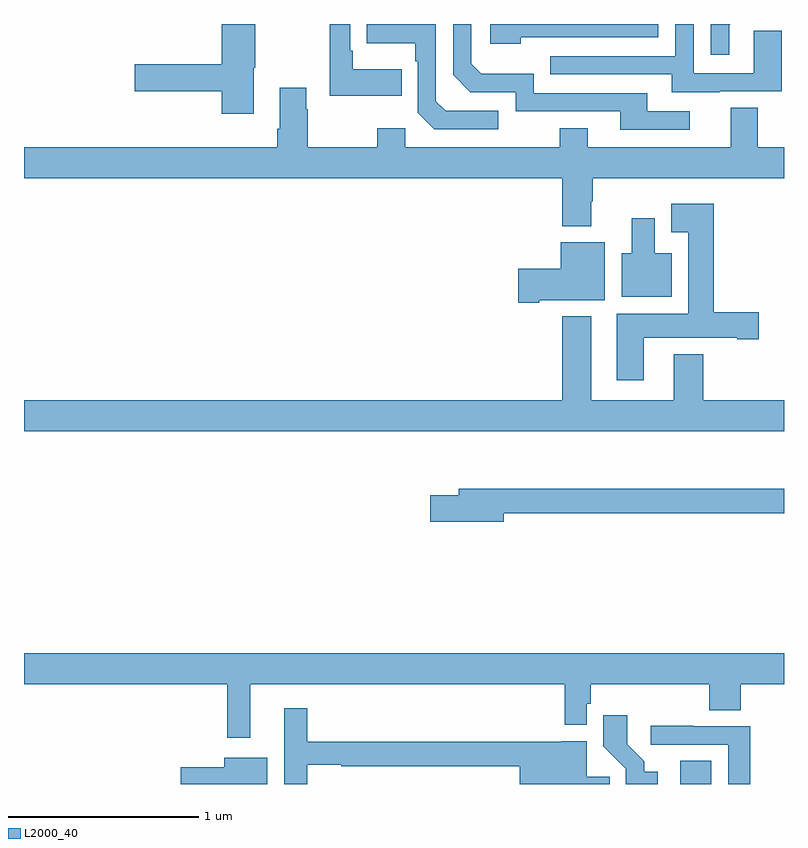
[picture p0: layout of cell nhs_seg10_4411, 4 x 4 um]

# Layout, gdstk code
import gdstk
lib = gdstk.Library(unit=1e-6, precision=1e-09)
def R(c, l, rs):  # rectangles x0, y0, x1, y1
    for r in rs: c.add(gdstk.rectangle(r[:2], r[2:], *l))
def P(c, l, *ps):  # polygons
    for p in ps: c.add(gdstk.Polygon(p, *l))
L2000_40 = (2000, 40)

nhs_seg10_4411 = lib.new_cell('nhs_seg10_4411')
R(nhs_seg10_4411, L2000_40, [(364.454,1258.5,364.618,1258.622)])
P(nhs_seg10_4411, L2000_40, [(364.504,1262.04),(364.279,1262.04),(364.279,1262.136),(363.684,1262.136),(363.684,1262.239),(363.407,1262.239),(363.354,1262.292),(363.354,1262.5),(363.258,1262.5),(363.258,1262.232),(363.348,1262.142),(363.588,1262.142),(363.588,1262.04),(364.139,1262.04),(364.139,1261.944),(364.504,1261.944)],
  [(363.496,1262.043),(363.219,1262.043),(363.168,1262.094),(363.168,1262.5),(362.803,1262.5),(362.803,1262.399),(363.06,1262.399),(363.06,1262.303),(363.072,1262.303),(363.072,1262.034),(363.159,1261.947),(363.496,1261.947)],
  [(364.663,1262.145),(364.987,1262.145),(364.987,1262.465),(364.842,1262.465),(364.842,1262.241),(364.524,1262.241),(364.524,1262.5),(364.428,1262.5),(364.428,1262.331),(363.769,1262.331),(363.769,1262.235),(364.409,1262.235),(364.409,1262.141),(364.663,1262.141)],
  [(362.987,1262.263),(362.731,1262.263),(362.731,1262.359),(362.718,1262.359),(362.718,1262.5),(362.61,1262.5),(362.61,1262.123),(362.987,1262.123)],
  [(362.209,1262.271),(362.217,1262.271),(362.217,1262.5),(362.042,1262.5),(362.042,1262.288),(361.584,1262.288),(361.584,1262.146),(362.042,1262.146),(362.042,1262.028),(362.209,1262.028)],
  [(364.711,1262.493),(364.718,1262.5),(364.614,1262.5),(364.614,1262.337),(364.711,1262.337)],
  [(363.614,1262.43),(364.338,1262.43),(364.338,1262.5),(363.453,1262.5),(363.453,1262.396),(363.614,1262.396)],
  [(363.833,1261.436),(363.985,1261.436),(363.985,1261.568),(363.993,1261.568),(363.993,1261.688),(365,1261.688),(365,1261.852),(364.861,1261.852),(364.861,1262.06),(364.721,1262.06),(364.721,1261.852),(363.967,1261.852),(363.967,1261.951),(363.82,1261.951),(363.82,1261.852),(363.006,1261.852),(363.006,1261.951),(362.86,1261.951),(362.86,1261.852),(362.493,1261.852),(362.493,1262.051),(362.485,1262.051),(362.485,1262.164),(362.345,1262.164),(362.345,1261.948),(362.333,1261.948),(362.333,1261.852),(361,1261.852),(361,1261.688),(363.833,1261.688)],
  [(364.261,1260.848),(364.754,1260.848),(364.754,1260.841),(364.867,1260.841),(364.867,1260.983),(364.631,1260.983),(364.631,1261.555),(364.406,1261.555),(364.406,1261.403),(364.496,1261.403),(364.496,1260.976),(364.121,1260.976),(364.121,1260.624),(364.261,1260.624)],
  [(364.408,1261.294),(364.321,1261.294),(364.321,1261.477),(364.199,1261.477),(364.199,1261.294),(364.145,1261.294),(364.145,1261.064),(364.408,1261.064)],
  [(363.712,1261.046),(364.057,1261.046),(364.057,1261.351),(363.824,1261.351),(363.824,1261.212),(363.6,1261.212),(363.6,1261.034),(363.712,1261.034)],
  [(365,1260.52),(364.574,1260.52),(364.574,1260.763),(364.421,1260.763),(364.421,1260.52),(363.985,1260.52),(363.985,1260.961),(363.833,1260.961),(363.833,1260.52),(361,1260.52),(361,1260.356),(365,1260.356)],
  [(363.526,1259.926),(365,1259.926),(365,1260.055),(363.287,1260.055),(363.287,1260.021),(363.138,1260.021),(363.138,1259.879),(363.526,1259.879)],
  [(362.191,1259.024),(363.847,1259.024),(363.847,1258.811),(363.963,1258.811),(363.963,1258.923),(363.983,1258.923),(363.983,1259.024),(364.607,1259.024),(364.607,1258.888),(364.772,1258.888),(364.772,1259.024),(365,1259.024),(365,1259.188),(361,1259.188),(361,1259.024),(362.07,1259.024),(362.07,1258.743),(362.191,1258.743)],
  [(362.491,1258.602),(362.669,1258.602),(362.669,1258.594),(363.608,1258.594),(363.608,1258.5),(364.082,1258.5),(364.082,1258.538),(363.961,1258.538),(363.961,1258.726),(363.828,1258.726),(363.828,1258.723),(362.491,1258.723),(362.491,1258.9),(362.369,1258.9),(362.369,1258.5),(362.491,1258.5)],
  [(364.336,1258.564),(364.264,1258.564),(364.264,1258.619),(364.174,1258.709),(364.174,1258.861),(364.048,1258.861),(364.048,1258.698),(364.167,1258.579),(364.167,1258.5),(364.336,1258.5)],
  [(364.823,1258.803),(364.523,1258.803),(364.523,1258.806),(364.299,1258.806),(364.299,1258.707),(364.707,1258.707),(364.707,1258.5),(364.823,1258.5)],
  [(362.281,1258.639),(362.054,1258.639),(362.054,1258.587),(361.824,1258.587),(361.824,1258.5),(362.281,1258.5)])

lib.write_gds('nhs_seg10_4411.gds')
